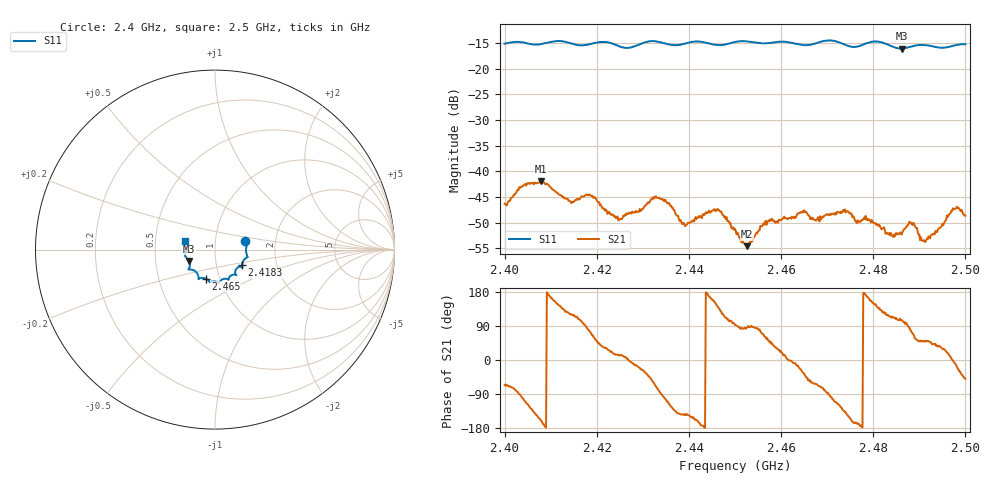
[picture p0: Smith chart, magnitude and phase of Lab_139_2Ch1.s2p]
# Hz S RI R 50
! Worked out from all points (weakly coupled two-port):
!   601 points, 2.4 GHz to 2.5 GHz, reference 50 ohm
!   highest |S21| = -41.97 dB at 2.4078 GHz (marker M1); lowest = -54.6 dB at 2.4527 GHz (marker M2)
!   lowest |S11| = -16.1 dB at 2.4862 GHz (marker M3), VSWR 1.37, Z = 37.1 - j4.83 ohm
!   |S11| at or under -10 dB: start of sweep to end of sweep
!   S12 and S22 are empty: the file has one direction only
!   S11 on the Smith chart (normalised r, x): 2.4 GHz: 1.40, +0.13; 2.4183 GHz: 1.33, -0.24; 2.465 GHz: 0.86, -0.29; 2.5 GHz: 0.71, +0.07
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2.4e9  0.1696 0.0458  0.00199 -0.0044  0 0  0 0
2.404e9  0.1786 0.0273  -0.00146 -0.00704  0 0  0 0
2.407833e9  0.1732 -0.0139  -0.00741 -0.00294  0 0  0 0
2.414333e9  0.1704 -0.048  -0.00263 0.00432  0 0  0 0
2.416667e9  0.1549 -0.068  -0.00117 0.00559  0 0  0 0
2.418333e9  0.15 -0.087  0.00124 0.00585  0 0  0 0
2.425167e9  0.1324 -0.0964  0.00333 0.000764  0 0  0 0
2.433333e9  0.1175 -0.1411  0.00112 -0.0054  0 0  0 0
2.439e9  0.0779 -0.1571  -0.00242 -0.00182  0 0  0 0
2.446e9  0.053 -0.1625  -0.00346 0.00243  0 0  0 0
2.45e9  0.0253 -0.1808  -0.000149 0.00274  0 0  0 0
2.452667e9  0.02 -0.184  0.000137 0.00186  0 0  0 0
2.457e9  -0.00981 -0.1772  0.00174 0.00275  0 0  0 0
2.465e9  -0.0525 -0.1619  0.00337 -0.00247  0 0  0 0
2.466667e9  -0.0714 -0.1574  0.00172 -0.00295  0 0  0 0
2.474e9  -0.0949 -0.1421  -0.00293 -0.00268  0 0  0 0
2.483333e9  -0.1413 -0.0964  -0.00109 0.00218  0 0  0 0
2.486167e9  -0.1441 -0.0634  -0.000628 0.00233  0 0  0 0
2.488333e9  -0.1594 -0.0445  0.000903 0.00294  0 0  0 0
2.491e9  -0.1675 -0.0339  0.00135 0.00165  0 0  0 0
2.497667e9  -0.1656 0.0338  0.00423 -0.000593  0 0  0 0
2.5e9  -0.1672 0.047  0.00238 -0.00284  0 0  0 0
